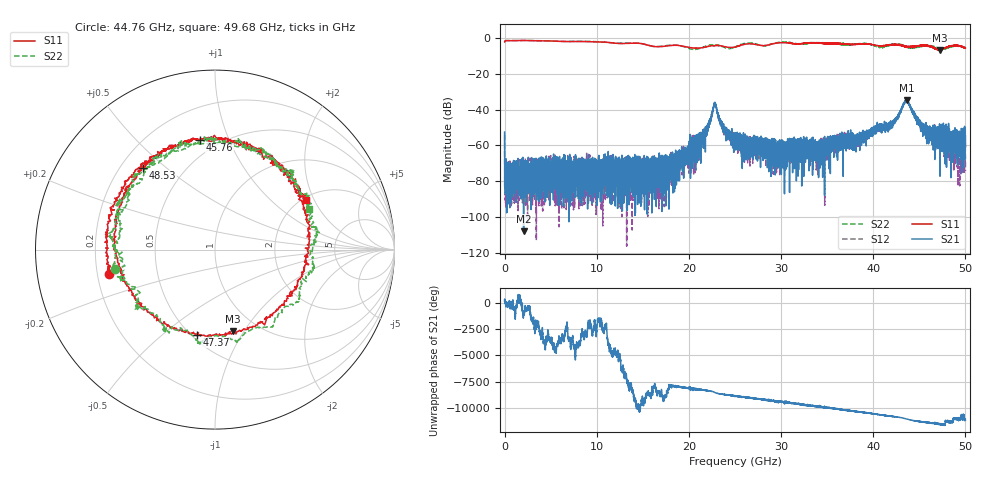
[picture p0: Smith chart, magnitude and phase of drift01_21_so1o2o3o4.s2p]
!Created with skrf (http://scikit-rf.org).
# Hz S RI R 50.0
!freq ReS11 ImS11 ReS21 ImS21 ReS12 ImS12 ReS22 ImS22
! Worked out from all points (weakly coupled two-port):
!   10001 points, 300 kHz to 50 GHz, reference 50 ohm
!   highest |S21| = -34.81 dB at 43.64 GHz (marker M1); lowest = -107.9 dB at 2.06 GHz (marker M2)
!   lowest |S11| = -6.7 dB at 47.2 GHz (marker M3), VSWR 2.73, Z = 38.5 - j44.4 ohm
!   |S11| at or under -10 dB: nowhere
!   |S22| runs from -6.5 to -1.4 dB; largest |S21 - S12| = 0.0039
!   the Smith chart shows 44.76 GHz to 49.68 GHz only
!   S11 on the Smith chart (normalised r, x): 44.76 GHz: 0.25, -0.11; 45.76 GHz: 0.40, +0.79; 47.37 GHz: 0.53, -0.66; 48.53 GHz: 0.29, +0.42; 49.68 GHz: 2.09, +1.72
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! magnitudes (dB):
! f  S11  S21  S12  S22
! 300 kHz  -2.1  -52.5  -54.1  -2.1
! 255.3 MHz  -1.4  -77.0  -82.0  -1.4
! 2.06 GHz  -1.4  -107.9  -70.6  -1.4
! 8.335 GHz  -1.9  -71.3  -80.2  -1.8
! 16.67 GHz  -4.8  -82.6  -76.2  -4.8
! 20.84 GHz  -5.7  -58.6  -62.8  -6.2
! 21.95 GHz  -4.9  -52.5  -52.4  -4.5
! 22.8 GHz  -4.3  -36.2  -36.3  -4.0
! 23.68 GHz  -4.6  -49.3  -50.2  -4.9
! 25 GHz  -5.0  -54.7  -57.0  -5.1
! 29.57 GHz  -2.8  -65.2  -60.3  -2.6
! 32.29 GHz  -3.1  -58.8  -59.9  -3.3
! 33.34 GHz  -2.6  -62.9  -67.4  -2.7
! 41.67 GHz  -3.9  -50.5  -49.1  -4.4
! 43.64 GHz  -4.9  -34.8  -35.5  -5.3
! 44.76 GHz  -4.3  -45.7  -45.9  -4.9
! 45.76 GHz  -4.2  -52.7  -50.6  -4.2
! 47.2 GHz  -6.7  -47.9  -51.9  -6.0
! 47.37 GHz  -6.3  -51.7  -51.7  -6.0
! 48.53 GHz  -4.3  -52.6  -57.2  -4.7
! 49.68 GHz  -4.8  -56.2  -65.1  -4.9
! 50 GHz  -5.7  -54.6  -74.3  -5.3
